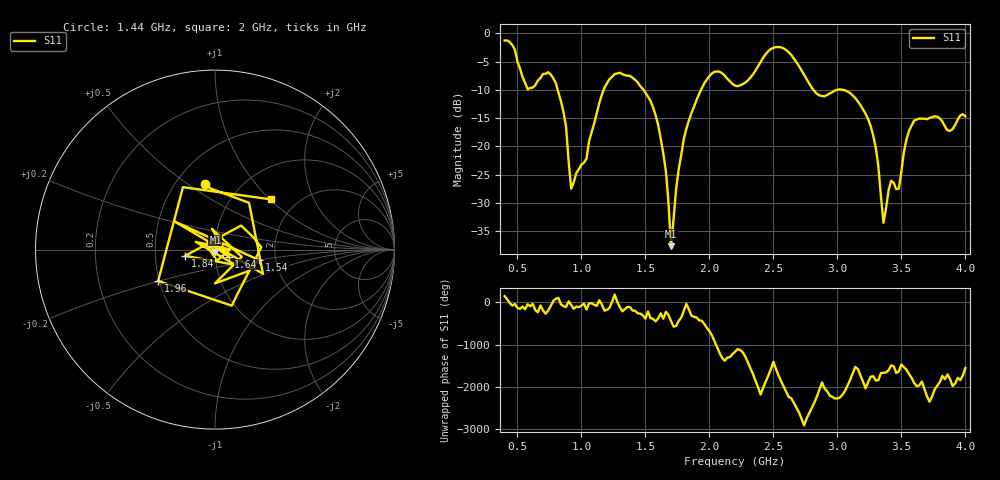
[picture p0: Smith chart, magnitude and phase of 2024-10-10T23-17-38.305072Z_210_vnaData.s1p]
! Created with skrf (http://scikit-rf.org).
# Hz S RI R 50.0
!freq ReS11 ImS11
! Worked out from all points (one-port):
!   181 points, 400 MHz to 4 GHz, reference 50 ohm
!   lowest |S11| = -37.6 dB at 1.7 GHz (marker M1), VSWR 1.03, Z = 50.2 - j1.3 ohm
!   |S11| at or under -10 dB: 814.8 MHz to 1.174 GHz (358.7 MHz wide, 36.1 % of centre); 1.485 GHz to 1.934 GHz (449.3 MHz wide, 26.3 % of centre); 3.04 GHz to end of sweep (the widest 3 of 4)
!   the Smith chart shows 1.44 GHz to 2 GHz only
!   S11 on the Smith chart (normalised r, x): 1.44 GHz: 0.69, +0.58; 1.54 GHz: 1.64, -0.21; 1.64 GHz: 1.16, -0.09; 1.84 GHz: 0.71, -0.05; 1.96 GHz: 0.49, -0.20; 2 GHz: 1.49, +1.01
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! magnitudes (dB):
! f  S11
! 400 MHz  -1.3
! 580 MHz  -9.9
! 760 MHz  -7.3
! 860 MHz  -13.9
! 920 MHz  -27.5
! 1.04 GHz  -22.2
! 1.18 GHz  -9.6
! 1.3 GHz  -7.0
! 1.44 GHz  -8.7
! 1.54 GHz  -11.9
! 1.64 GHz  -21.3
! 1.66 GHz  -24.4
! 1.7 GHz  -37.6
! 1.76 GHz  -24.1
! 1.84 GHz  -15.4
! 1.96 GHz  -8.8
! 2 GHz  -7.6
! 2.2 GHz  -9.2
! 2.5 GHz  -2.5
! 2.66 GHz  -4.5
! 2.86 GHz  -11.0
! 3.1 GHz  -10.6
! 3.28 GHz  -18.1
! 3.36 GHz  -33.5
! 3.42 GHz  -26.1
! 3.48 GHz  -27.5
! 3.56 GHz  -17.2
! 4 GHz  -14.7
